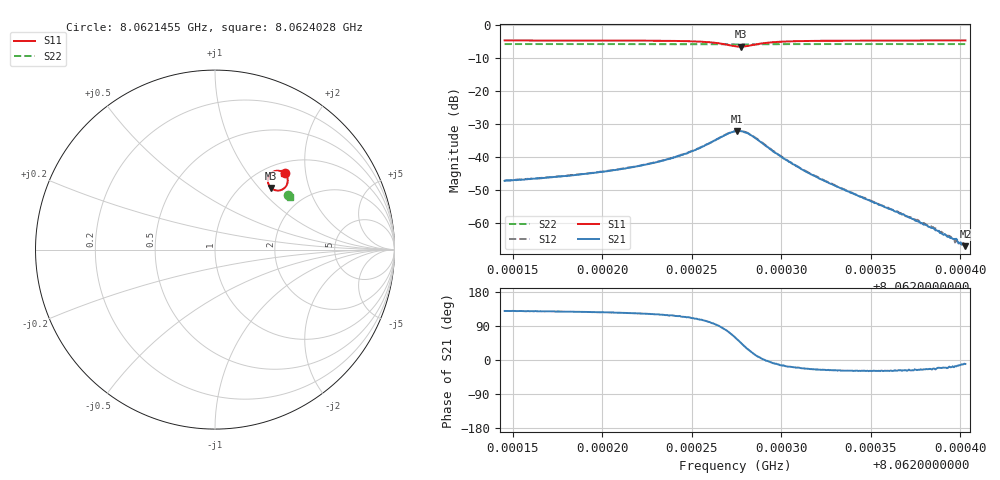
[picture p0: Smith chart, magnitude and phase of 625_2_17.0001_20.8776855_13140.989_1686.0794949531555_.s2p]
#  HZ  S  RI  R  50.00
! Rohde & Schwarz Vector Network Analyzer
! Rohde-Schwarz,ZNB20-2Port,1311601062101988,3.16
! Created: UTC 3/20/2024, 11:20:06 PM
! freq[Hz]  re:S11  im:S11  re:S21  im:S21  re:S12  im:S12  re:S22  im:S22
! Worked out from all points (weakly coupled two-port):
!   401 points, 8.0621455 GHz to 8.0624028 GHz, reference 50 ohm
!   highest |S21| = -32.09 dB at 8.0622754 GHz (marker M1); lowest = -66.8 dB at 8.0624028 GHz (marker M2)
!   lowest |S11| = -6.7 dB at 8.0622774 GHz (marker M3), VSWR 2.73, Z = 66.3 + j58.1 ohm
!   |S11| at or under -10 dB: nowhere
!   |S22| runs from -6.0 to -5.9 dB; largest |S21 - S12| = 0.0014
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8.06214549e9  0.3876 0.4259  -0.00279 0.0034  -0.00259 0.00359  0.4073 0.3036
8.06218859e9  0.3931 0.4196  -0.00335 0.00442  -0.00307 0.00465  0.4089 0.3011
8.06221239e9  0.3973 0.4135  -0.0038 0.00556  -0.0035 0.0058  0.4098 0.2996
8.06223169e9  0.4017 0.4043  -0.00432 0.00744  -0.00388 0.00775  0.4104 0.2984
8.06224777e9  0.4052 0.3887  -0.00458 0.0107  -0.00387 0.011  0.4108 0.297
8.06226128e9  0.3993 0.3591  -0.00217 0.0169  -0.00129 0.017  0.4107 0.2949
8.06226964e9  0.3696 0.3324  0.00487 0.0217  0.00618 0.0216  0.4093 0.2938
8.06227414e9  0.3362 0.3305  0.0124 0.0213  0.0135 0.0207  0.4081 0.294
8.06227543e9  0.3259 0.3342  0.0145 0.0202  0.0156 0.0194  0.4077 0.2942
8.06227736e9  0.3118 0.3438  0.0172 0.0177  0.0183 0.0169  0.4073 0.2948
8.06228251e9  0.2944 0.3821  0.02 0.00885  0.0208 0.0079  0.4071 0.2963
8.06229215e9  0.3159 0.4281  0.0143 -0.000574  0.0144 -0.00156  0.4092 0.2976
8.06230502e9  0.3446 0.4396  0.00793 -0.00257  0.00789 -0.00304  0.4109 0.2971
8.06231724e9  0.3587 0.4391  0.00492 -0.00223  0.00483 -0.00255  0.4119 0.2964
8.06233204e9  0.3682 0.4366  0.00313 -0.00161  0.00303 -0.00186  0.4126 0.2953
8.06236034e9  0.3778 0.4325  0.00145 -0.000798  0.00145 -0.000865  0.4141 0.2937
8.06238478e9  0.3825 0.4297  0.000787 -0.000329  0.000787 -0.000404  0.4151 0.2923
8.06239186e9  0.3835 0.4288  0.000629 -0.00023  0.000614 -0.0003  0.4153 0.2919
8.06239507e9  0.384 0.4287  0.000576 -0.000196  0.000578 -0.000206  0.4154 0.2918
8.06239829e9  0.3845 0.4283  0.000545 -0.000145  0.000496 -0.000195  0.4155 0.2916
8.06240022e9  0.3847 0.4281  0.000505 -0.000114  0.000462 -0.000154  0.4155 0.2914
8.06240279e9  0.385 0.4277  0.000447 -8.26e-05  0.000454 -0.000115  0.4157 0.2914
